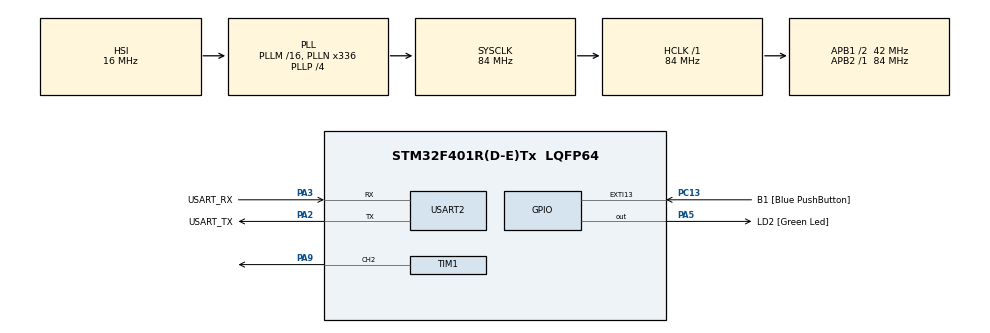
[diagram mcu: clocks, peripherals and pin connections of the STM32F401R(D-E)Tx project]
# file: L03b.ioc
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Mcu.Family=STM32F4
Mcu.Name=STM32F401R(D-E)Tx
Mcu.Package=LQFP64
NVIC.PriorityGroup=NVIC_PRIORITYGROUP_0
PA13.GPIO_Label=TMS
PA13.Mode=Serial_Wire
PA13.Signal=SYS_JTMS-SWDIO
PA14.GPIO_Label=TCK
PA14.Mode=Serial_Wire
PA14.Signal=SYS_JTCK-SWCLK
PA2.GPIO_Label=USART_TX
PA2.GPIO_Mode=GPIO_MODE_AF_PP
PA2.GPIO_PuPd=GPIO_NOPULL
PA2.GPIO_Speed=GPIO_SPEED_FREQ_LOW
PA2.Mode=Asynchronous
PA2.Signal=USART2_TX
PA3.GPIO_Label=USART_RX
PA3.GPIO_Mode=GPIO_MODE_AF_PP
PA3.GPIO_PuPd=GPIO_NOPULL
PA3.GPIO_Speed=GPIO_SPEED_FREQ_LOW
PA3.Mode=Asynchronous
PA3.Signal=USART2_RX
PA5.GPIO_Label=LD2 [Green Led]
PA5.GPIO_Mode=GPIO_MODE_OUTPUT_PP
PA5.GPIO_PuPd=GPIO_NOPULL
PA5.GPIO_Speed=GPIO_SPEED_FREQ_LOW
PA5.Signal=GPIO_Output
PA9.Signal=S_TIM1_CH2
PB3.GPIO_Label=SWO
PB3.Signal=SYS_JTDO-SWO
PC13-ANTI_TAMP.GPIO_Label=B1 [Blue PushButton]
PC13-ANTI_TAMP.GPIO_ModeDefaultEXTI=GPIO_MODE_IT_FALLING
PC13-ANTI_TAMP.GPIO_PuPd=GPIO_NOPULL
PC13-ANTI_TAMP.Signal=GPXTI13
PC14-OSC32_IN.Mode=LSE-External-Oscillator
PC14-OSC32_IN.Signal=RCC_OSC32_IN
PC15-OSC32_OUT.Mode=LSE-External-Oscillator
PC15-OSC32_OUT.Signal=RCC_OSC32_OUT
PH0\ -\ OSC_IN.Mode=HSE-External-Clock-Source
PH0\ -\ OSC_IN.Signal=RCC_OSC_IN
PH1\ -\ OSC_OUT.Mode=HSE-External-Clock-Source
PH1\ -\ OSC_OUT.Signal=RCC_OSC_OUT
ProjectManager.HeapSize=0x200
ProjectManager.StackSize=0x400
ProjectManager.TargetToolchain=STM32CubeIDE
RCC.48MHZClocksFreq_Value=48000000
RCC.AHBFreq_Value=84000000
RCC.APB1CLKDivider=RCC_HCLK_DIV2
RCC.APB1Freq_Value=42000000
RCC.APB1TimFreq_Value=84000000
RCC.APB2Freq_Value=84000000
RCC.APB2TimFreq_Value=84000000
RCC.CortexFreq_Value=84000000
RCC.HCLKFreq_Value=84000000
RCC.HSE_VALUE=8000000
RCC.HSI_VALUE=16000000
RCC.PLLN=336
RCC.PLLP=RCC_PLLP_DIV4
RCC.PLLQ=7
RCC.SYSCLKFreq_VALUE=84000000
RCC.SYSCLKSource=RCC_SYSCLKSOURCE_PLLCLK
RCC.VCOOutputFreq_Value=336000000
SH.S_TIM1_CH2.0=TIM1_CH2,PWM Generation2 CH2
TIM1.Channel-PWM\ Generation2\ CH2=TIM_CHANNEL_2
TIM1.Period=1909
TIM1.Prescaler=100-1
TIM1.Pulse-PWM\ Generation2\ CH2=954
USART2.VirtualMode=VM_ASYNC
VP_TIM1_VS_ClockSourceINT.Mode=Internal
board=NUCLEO-F401RE

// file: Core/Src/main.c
/* USER CODE BEGIN Header */
/**
  ******************************************************************************
  * @file           : main.c
  * @brief          : Main program body
  ******************************************************************************
  * @attention
  *
  * Copyright (c) 2024 STMicroelectronics.
  * All rights reserved.
  *
  * This software is licensed under terms that can be found in the LICENSE file
  * in the root directory of this software component.
  * If no LICENSE file comes with this software, it is provided AS-IS.
  *
  ******************************************************************************
  */
/* USER CODE END Header */
#include "main.h"

/* USER CODE BEGIN PTD */

typedef struct note {
	int period;
	int dur;
} note;

/* USER CODE END PTD */

/* USER CODE BEGIN PD */
#define _DO4 3205
#define _DOD4 3031
#define _RE4 2856
#define _RED4 2699
#define _MI4 2544
#define _FA4 2405
#define _FAD4 2269
#define _SOL4 2141
#define _SOLD4 2023
#define _LA4 1908
#define _LAD4 1801
#define _SI4 1699

#define BASE 75
/* USER CODE END PD */

TIM_HandleTypeDef htim1;

UART_HandleTypeDef huart2;

void SystemClock_Config(void);
static void MX_GPIO_Init(void);
static void MX_USART2_UART_Init(void);
static void MX_TIM1_Init(void);

/* USER CODE BEGIN 0 */

void play_note(note n) {
	/*Copied from MX_TIM1_Init()*/
	TIM_ClockConfigTypeDef sClockSourceConfig = {0};
	TIM_MasterConfigTypeDef sMasterConfig = {0};
	TIM_OC_InitTypeDef sConfigOC = {0};
	TIM_BreakDeadTimeConfigTypeDef sBreakDeadTimeConfig = {0};

	htim1.Instance = TIM1;
	htim1.Init.Prescaler = 100-1;
	htim1.Init.CounterMode = TIM_COUNTERMODE_UP;
	htim1.Init.Period = n.period;
	htim1.Init.ClockDivision = TIM_CLOCKDIVISION_DIV1;
	htim1.Init.RepetitionCounter = 0;
	htim1.Init.AutoReloadPreload = TIM_AUTORELOAD_PRELOAD_DISABLE;
	if (HAL_TIM_PWM_Init(&htim1) != HAL_OK)
	{
		Error_Handler();
	}
	sMasterConfig.MasterOutputTrigger = TIM_TRGO_RESET;
	sMasterConfig.MasterSlaveMode = TIM_MASTERSLAVEMODE_DISABLE;
	if (HAL_TIMEx_MasterConfigSynchronization(&htim1, &sMasterConfig) != HAL_OK)
	{
		Error_Handler();
	}
	sConfigOC.OCMode = TIM_OCMODE_PWM1;
	sConfigOC.Pulse = n.period/2;
	sConfigOC.OCPolarity = TIM_OCPOLARITY_HIGH;
	sConfigOC.OCNPolarity = TIM_OCNPOLARITY_HIGH;
	sConfigOC.OCFastMode = TIM_OCFAST_DISABLE;
	sConfigOC.OCIdleState = TIM_OCIDLESTATE_RESET;
	sConfigOC.OCNIdleState = TIM_OCNIDLESTATE_RESET;
	if (HAL_TIM_PWM_ConfigChannel(&htim1, &sConfigOC, TIM_CHANNEL_2) != HAL_OK)
	{
		Error_Handler();
	}
	sBreakDeadTimeConfig.OffStateRunMode = TIM_OSSR_DISABLE;
	sBreakDeadTimeConfig.OffStateIDLEMode = TIM_OSSI_DISABLE;
	sBreakDeadTimeConfig.LockLevel = TIM_LOCKLEVEL_OFF;
	sBreakDeadTimeConfig.DeadTime = 0;
	sBreakDeadTimeConfig.BreakState = TIM_BREAK_DISABLE;
	sBreakDeadTimeConfig.BreakPolarity = TIM_BREAKPOLARITY_HIGH;
	sBreakDeadTimeConfig.AutomaticOutput = TIM_AUTOMATICOUTPUT_DISABLE;
	if (HAL_TIMEx_ConfigBreakDeadTime(&htim1, &sBreakDeadTimeConfig) != HAL_OK)
	{
		Error_Handler();
	}

	HAL_TIM_MspPostInit(&htim1);

	HAL_TIM_PWM_Start(&htim1, TIM_CHANNEL_2);
	HAL_Delay(n.dur * BASE);
	HAL_TIM_PWM_Stop(&htim1, TIM_CHANNEL_2);
}

void play_song(note *score, int len){
	for(int i=0; i < len; i++) {
		play_note(score[i]);
	}
}

/* USER CODE END 0 */

int main(void)
{

  /* USER CODE BEGIN 1 */
	note score[] = {
			{_SOL4, 6},
			{_LA4, 2},
			{_SOL4, 4},
			{_FA4, 4},
			{_MI4, 4},
			{_FA4, 4},
			{_SOL4, 8},
			{_RE4, 4},
			{_MI4, 4},
			{_FA4, 8},
			{_MI4, 4},
			{_FA4, 4},
			{_SOL4, 8},
			{_SOL4, 6},
			{_LA4, 2},
			{_SOL4, 4},
			{_FA4, 4},
			{_MI4, 4},
			{_FA4, 4},
			{_SOL4, 8},
			{_RE4, 8},
			{_SOL4, 8},
			{_MI4, 4},
			{_DO4, 12},
	};
	int len = sizeof(score)/sizeof(score[0]);
  /* USER CODE END 1 */

  /* MCU Configuration--------------------------------------------------------*/

  /* Reset of all peripherals, Initializes the Flash interface and the Systick. */
  HAL_Init();

  /* Configure the system clock */
  SystemClock_Config();

  /* Initialize all configured peripherals */
  MX_GPIO_Init();
  MX_USART2_UART_Init();
  MX_TIM1_Init();
  /* USER CODE BEGIN 2 */
  play_song(score, len);
  /* USER CODE END 2 */

  /* Infinite loop */
  while (1)
  {

  }
}

void SystemClock_Config(void)
{
  RCC_OscInitTypeDef RCC_OscInitStruct = {0};
  RCC_ClkInitTypeDef RCC_ClkInitStruct = {0};

  /** Configure the main internal regulator output voltage
  */
  __HAL_RCC_PWR_CLK_ENABLE();
  __HAL_PWR_VOLTAGESCALING_CONFIG(PWR_REGULATOR_VOLTAGE_SCALE2);

  /** Initializes the RCC Oscillators according to the specified parameters
  * in the RCC_OscInitTypeDef structure.
  */
  RCC_OscInitStruct.OscillatorType = RCC_OSCILLATORTYPE_HSI;
  RCC_OscInitStruct.HSIState = RCC_HSI_ON;
  RCC_OscInitStruct.HSICalibrationValue = RCC_HSICALIBRATION_DEFAULT;
  RCC_OscInitStruct.PLL.PLLState = RCC_PLL_ON;
  RCC_OscInitStruct.PLL.PLLSource = RCC_PLLSOURCE_HSI;
  RCC_OscInitStruct.PLL.PLLM = 16;
  RCC_OscInitStruct.PLL.PLLN = 336;
  RCC_OscInitStruct.PLL.PLLP = RCC_PLLP_DIV4;
  RCC_OscInitStruct.PLL.PLLQ = 7;
  if (HAL_RCC_OscConfig(&RCC_OscInitStruct) != HAL_OK)
  {
    Error_Handler();
  }

  /** Initializes the CPU, AHB and APB buses clocks
  */
  RCC_ClkInitStruct.ClockType = RCC_CLOCKTYPE_HCLK|RCC_CLOCKTYPE_SYSCLK
                              |RCC_CLOCKTYPE_PCLK1|RCC_CLOCKTYPE_PCLK2;
  RCC_ClkInitStruct.SYSCLKSource = RCC_SYSCLKSOURCE_PLLCLK;
  RCC_ClkInitStruct.AHBCLKDivider = RCC_SYSCLK_DIV1;
  RCC_ClkInitStruct.APB1CLKDivider = RCC_HCLK_DIV2;
  RCC_ClkInitStruct.APB2CLKDivider = RCC_HCLK_DIV1;

  if (HAL_RCC_ClockConfig(&RCC_ClkInitStruct, FLASH_LATENCY_2) != HAL_OK)
  {
    Error_Handler();
  }
}

static void MX_TIM1_Init(void)
{

  TIM_ClockConfigTypeDef sClockSourceConfig = {0};
  TIM_MasterConfigTypeDef sMasterConfig = {0};
  TIM_OC_InitTypeDef sConfigOC = {0};
  TIM_BreakDeadTimeConfigTypeDef sBreakDeadTimeConfig = {0};

  htim1.Instance = TIM1;
  htim1.Init.Prescaler = 100-1;
  htim1.Init.CounterMode = TIM_COUNTERMODE_UP;
  htim1.Init.Period = 1909;
  htim1.Init.ClockDivision = TIM_CLOCKDIVISION_DIV1;
  htim1.Init.RepetitionCounter = 0;
  htim1.Init.AutoReloadPreload = TIM_AUTORELOAD_PRELOAD_DISABLE;
  if (HAL_TIM_Base_Init(&htim1) != HAL_OK)
  {
    Error_Handler();
  }
  sClockSourceConfig.ClockSource = TIM_CLOCKSOURCE_INTERNAL;
  if (HAL_TIM_ConfigClockSource(&htim1, &sClockSourceConfig) != HAL_OK)
  {
    Error_Handler();
  }
  if (HAL_TIM_PWM_Init(&htim1) != HAL_OK)
  {
    Error_Handler();
  }
  sMasterConfig.MasterOutputTrigger = TIM_TRGO_RESET;
  sMasterConfig.MasterSlaveMode = TIM_MASTERSLAVEMODE_DISABLE;
  if (HAL_TIMEx_MasterConfigSynchronization(&htim1, &sMasterConfig) != HAL_OK)
  {
    Error_Handler();
  }
  sConfigOC.OCMode = TIM_OCMODE_PWM1;
  sConfigOC.Pulse = 954;
  sConfigOC.OCPolarity = TIM_OCPOLARITY_HIGH;
  sConfigOC.OCNPolarity = TIM_OCNPOLARITY_HIGH;
  sConfigOC.OCFastMode = TIM_OCFAST_DISABLE;
  sConfigOC.OCIdleState = TIM_OCIDLESTATE_RESET;
  sConfigOC.OCNIdleState = TIM_OCNIDLESTATE_RESET;
  if (HAL_TIM_PWM_ConfigChannel(&htim1, &sConfigOC, TIM_CHANNEL_2) != HAL_OK)
  {
    Error_Handler();
  }
  sBreakDeadTimeConfig.OffStateRunMode = TIM_OSSR_DISABLE;
  sBreakDeadTimeConfig.OffStateIDLEMode = TIM_OSSI_DISABLE;
  sBreakDeadTimeConfig.LockLevel = TIM_LOCKLEVEL_OFF;
  sBreakDeadTimeConfig.DeadTime = 0;
  sBreakDeadTimeConfig.BreakState = TIM_BREAK_DISABLE;
  sBreakDeadTimeConfig.BreakPolarity = TIM_BREAKPOLARITY_HIGH;
  sBreakDeadTimeConfig.AutomaticOutput = TIM_AUTOMATICOUTPUT_DISABLE;
  if (HAL_TIMEx_ConfigBreakDeadTime(&htim1, &sBreakDeadTimeConfig) != HAL_OK)
  {
    Error_Handler();
  }
  HAL_TIM_MspPostInit(&htim1);

}

static void MX_USART2_UART_Init(void)
{

  huart2.Instance = USART2;
  huart2.Init.BaudRate = 115200;
  huart2.Init.WordLength = UART_WORDLENGTH_8B;
  huart2.Init.StopBits = UART_STOPBITS_1;
  huart2.Init.Parity = UART_PARITY_NONE;
  huart2.Init.Mode = UART_MODE_TX_RX;
  huart2.Init.HwFlowCtl = UART_HWCONTROL_NONE;
  huart2.Init.OverSampling = UART_OVERSAMPLING_16;
  if (HAL_UART_Init(&huart2) != HAL_OK)
  {
    Error_Handler();
  }

}

static void MX_GPIO_Init(void)
{
  GPIO_InitTypeDef GPIO_InitStruct = {0};

  /* GPIO Ports Clock Enable */
  __HAL_RCC_GPIOC_CLK_ENABLE();
  __HAL_RCC_GPIOH_CLK_ENABLE();
  __HAL_RCC_GPIOA_CLK_ENABLE();
  __HAL_RCC_GPIOB_CLK_ENABLE();

  /*Configure GPIO pin Output Level */
  HAL_GPIO_WritePin(LD2_GPIO_Port, LD2_Pin, GPIO_PIN_RESET);

  /*Configure GPIO pin : B1_Pin */
  GPIO_InitStruct.Pin = B1_Pin;
  GPIO_InitStruct.Mode = GPIO_MODE_IT_FALLING;
  GPIO_InitStruct.Pull = GPIO_NOPULL;
  HAL_GPIO_Init(B1_GPIO_Port, &GPIO_InitStruct);

  /*Configure GPIO pin : LD2_Pin */
  GPIO_InitStruct.Pin = LD2_Pin;
  GPIO_InitStruct.Mode = GPIO_MODE_OUTPUT_PP;
  GPIO_InitStruct.Pull = GPIO_NOPULL;
  GPIO_InitStruct.Speed = GPIO_SPEED_FREQ_LOW;
  HAL_GPIO_Init(LD2_GPIO_Port, &GPIO_InitStruct);

}

void Error_Handler(void)
{
  __disable_irq();
  while (1)
  {
  }
}
